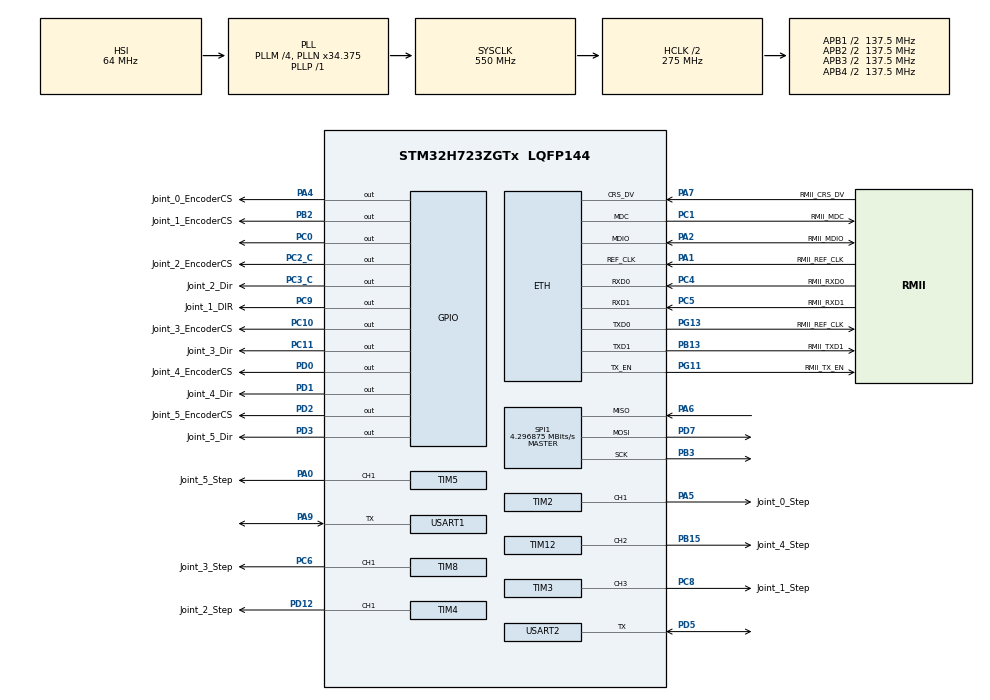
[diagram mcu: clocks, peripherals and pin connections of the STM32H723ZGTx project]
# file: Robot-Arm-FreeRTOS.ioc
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CORTEX_M7.AccessPermission_S-Cortex_Memory_Protection_Unit_Region1_Settings_S=MPU_REGION_FULL_ACCESS
CORTEX_M7.BaseAddress_S-Cortex_Memory_Protection_Unit_Region1_Settings_S=0x30000000
CORTEX_M7.DisableExec_S-Cortex_Memory_Protection_Unit_Region1_Settings_S=MPU_INSTRUCTION_ACCESS_DISABLE
CORTEX_M7.Enable_S-Cortex_Memory_Protection_Unit_Region1_Settings_S=MPU_REGION_ENABLE
CORTEX_M7.IsShareable_S-Cortex_Memory_Protection_Unit_Region1_Settings_S=MPU_ACCESS_SHAREABLE
CORTEX_M7.Size_S-Cortex_Memory_Protection_Unit_Region1_Settings_S=MPU_REGION_SIZE_512KB
CORTEX_M7.TypeExtField_S-Cortex_Memory_Protection_Unit_Region1_Settings_S=MPU_TEX_LEVEL1
CORTEX_M7.default_mode_Activation=1
ETH.MediaInterface=HAL_ETH_RMII_MODE
FREERTOS.Tasks01=defaultTask,24,1024,StartDefaultTask,Default,NULL,Dynamic,NULL,NULL;ControlLoop,48,1024,StartControlLoopTask,Default,NULL,Static,ControlLoopBuffer,ControlLoopControlBlock;SafetyMonitor,40,256,StartSafetyTask,Default,NULL,Static,SafetyMonitorBuffer,SafetyMonitorControlBlock;MotionPlanner,32,1024,StartMotionPlannerTask,Default,NULL,Static,MotionPlannerBuffer,MotionPlannerControlBlock;ROS2,24,3000,StartRosTask,Default,NULL,Static,ROS2Buffer,ROS2ControlBlock;Diagnostics,8,512,StartDiagTask,Default,NULL,Static,DiagnosticsBuffer,DiagnosticsControlBlock;Homing,32,512,StartHomingTask,Default,NULL,Static,HomingBuffer,HomingControlBlock
FREERTOS.configCHECK_FOR_STACK_OVERFLOW=2
FREERTOS.configMINIMAL_STACK_SIZE=512
FREERTOS.configTOTAL_HEAP_SIZE=30*1024
FREERTOS.configUSE_MALLOC_FAILED_HOOK=1
FREERTOS.configUSE_NEWLIB_REENTRANT=0
LWIP.BSP.number=1
LWIP.DEFAULT_THREAD_STACKSIZE=2048
LWIP.IP_ADDRESS=192.168.050.010
LWIP.LWIP_DHCP=0
LWIP.LWIP_RAM_HEAP_POINTER=0x30000200
LWIP.LWIP_SOCKET=1
LWIP.LWIP_SO_RCVTIMEO=0
LWIP.LWIP_SO_SNDTIMEO=0
LWIP.MEMP_NUM_SYS_TIMEOUT=3
LWIP.MEMP_NUM_UDP_PCB=4
LWIP.MEM_SIZE=32232
LWIP.NETMASK_ADDRESS=255.255.255.000
LWIP.TCPIP_THREAD_PRIO=3
LWIP.TCPIP_THREAD_STACKSIZE=2048
LWIP.TCP_MSS=1460
LWIP.TCP_SND_BUF=5840
LWIP.TCP_SND_QUEUELEN=16
LWIP.TCP_WND=5840
LWIP.Version=v2.2.1_Cube
LWIP0.BSP.STBoard=false
LWIP0.BSP.api=BSP_COMPONENT_DRIVER
LWIP0.BSP.component=LAN8742
LWIP0.BSP.instance=LAN8742
LWIP0.BSP.name=Driver_PHY
LWIP0.BSP.semaphore=S_LAN8742
LWIP0.BSP.solution=LAN8742
Mcu.Family=STM32H7
Mcu.Name=STM32H723ZGTx
Mcu.Package=LQFP144
NUCLEO-H723ZG.BUTTON=1
NUCLEO-H723ZG.LD1=true
NUCLEO-H723ZG.LD2=true
NUCLEO-H723ZG.LD3=true
NUCLEO-H723ZG.VCP=true
NVIC.ETH_IRQn=true\:5\:0\:false\:false\:true\:true\:true\:true\:true
NVIC.EXTI15_10_IRQn=true\:5\:0\:false\:false\:true\:true\:false\:true\:true
NVIC.PriorityGroup=NVIC_PRIORITYGROUP_4
NVIC.TIM1_UP_IRQn=true\:15\:0\:false\:false\:true\:false\:false\:true\:true
NVIC.TimeBase=TIM1_UP_IRQn
NVIC.TimeBaseIP=TIM1
PA0.GPIO_Label=Joint_5_Step
PA0.Signal=S_TIM5_CH1
PA1.GPIO_Label=RMII_REF_CLK
PA1.GPIO_Speed_Default_HIGH=GPIO_SPEED_FREQ_VERY_HIGH
PA1.Mode=RMII
PA1.Signal=ETH_REF_CLK
PA13(JTMS/SWDIO).Mode=Serial_Wire
PA13(JTMS/SWDIO).Signal=DEBUG_JTMS-SWDIO
PA14(JTCK/SWCLK).Mode=Serial_Wire
PA14(JTCK/SWCLK).Signal=DEBUG_JTCK-SWCLK
PA2.GPIO_Label=RMII_MDIO
PA2.GPIO_Speed_Default_HIGH=GPIO_SPEED_FREQ_VERY_HIGH
PA2.Mode=RMII
PA2.Signal=ETH_MDIO
PA4.GPIO_Label=Joint_0_EncoderCS
PA4.GPIO_Speed=GPIO_SPEED_FREQ_VERY_HIGH
PA4.PinState=GPIO_PIN_SET
PA4.Signal=GPIO_Output
PA5.GPIO_Label=Joint_0_Step
PA5.Signal=S_TIM2_CH1_ETR
PA6.GPIO_Speed=GPIO_SPEED_FREQ_VERY_HIGH
PA6.Mode=Full_Duplex_Master
PA6.Signal=SPI1_MISO
PA7.GPIO_Label=RMII_CRS_DV
PA7.GPIO_Speed_Default_HIGH=GPIO_SPEED_FREQ_VERY_HIGH
PA7.Mode=RMII
PA7.Signal=ETH_CRS_DV
PA9.GPIO_PuPd=GPIO_PULLUP
PA9.Mode=Half_duplex(single_wire_mode)
PA9.Signal=USART1_TX
PB13.GPIO_Label=RMII_TXD1
PB13.GPIO_Speed_Default_HIGH=GPIO_SPEED_FREQ_VERY_HIGH
PB13.Mode=RMII
PB13.Signal=ETH_TXD1
PB15.GPIO_Label=Joint_4_Step
PB15.Signal=S_TIM12_CH2
PB2.GPIO_Label=Joint_1_EncoderCS
PB2.GPIO_Speed=GPIO_SPEED_FREQ_VERY_HIGH
PB2.PinState=GPIO_PIN_SET
PB2.Signal=GPIO_Output
PB3(JTDO/TRACESWO).GPIO_Speed=GPIO_SPEED_FREQ_VERY_HIGH
PB3(JTDO/TRACESWO).Mode=Full_Duplex_Master
PB3(JTDO/TRACESWO).Signal=SPI1_SCK
PC0.Signal=GPIO_Output
PC1.GPIO_Label=RMII_MDC
PC1.GPIO_Speed_Default_HIGH=GPIO_SPEED_FREQ_VERY_HIGH
PC1.Mode=RMII
PC1.Signal=ETH_MDC
PC10.GPIO_Label=Joint_3_EncoderCS
PC10.PinState=GPIO_PIN_SET
PC10.Signal=GPIO_Output
PC11.GPIO_Label=Joint_3_Dir
PC11.Signal=GPIO_Output
PC2_C.GPIO_Label=Joint_2_EncoderCS
PC2_C.PinState=GPIO_PIN_SET
PC2_C.Signal=GPIO_Output
PC3_C.GPIO_Label=Joint_2_Dir
PC3_C.Signal=GPIO_Output
PC4.GPIO_Label=RMII_RXD0
PC4.GPIO_Speed_Default_HIGH=GPIO_SPEED_FREQ_VERY_HIGH
PC4.Mode=RMII
PC4.Signal=ETH_RXD0
PC5.GPIO_Label=RMII_RXD1
PC5.GPIO_Speed_Default_HIGH=GPIO_SPEED_FREQ_VERY_HIGH
PC5.Mode=RMII
PC5.Signal=ETH_RXD1
PC6.GPIO_Label=Joint_3_Step
PC6.Signal=S_TIM8_CH1
PC8.GPIO_Label=Joint_1_Step
PC8.Signal=S_TIM3_CH3
PC9.GPIO_Label=Joint_1_DIR
PC9.Signal=GPIO_Output
PD0.GPIO_Label=Joint_4_EncoderCS
PD0.PinState=GPIO_PIN_SET
PD0.Signal=GPIO_Output
PD1.GPIO_Label=Joint_4_Dir
PD1.Signal=GPIO_Output
PD12.GPIO_Label=Joint_2_Step
PD12.Signal=S_TIM4_CH1
PD2.GPIO_Label=Joint_5_EncoderCS
PD2.PinState=GPIO_PIN_SET
PD2.Signal=GPIO_Output
PD3.GPIO_Label=Joint_5_Dir
PD3.Signal=GPIO_Output
PD5.GPIO_PuPd=GPIO_PULLUP
PD5.Mode=Half_duplex(single_wire_mode)
PD5.Signal=USART2_TX
PD7.GPIO_Speed=GPIO_SPEED_FREQ_VERY_HIGH
PD7.Mode=Full_Duplex_Master
PD7.Signal=SPI1_MOSI
PD8.Signal=USART3_TX
PD9.Signal=USART3_RX
PG11.GPIO_Label=RMII_TX_EN
PG11.GPIO_Speed_Default_HIGH=GPIO_SPEED_FREQ_VERY_HIGH
PG11.Mode=RMII
PG11.Signal=ETH_TX_EN
PG13.GPIO_Label=RMII_REF_CLK
PG13.GPIO_Speed_Default_HIGH=GPIO_SPEED_FREQ_VERY_HIGH
PG13.Mode=RMII
PG13.Signal=ETH_TXD0
ProjectManager.HeapSize=0x200
ProjectManager.StackSize=0x400
ProjectManager.TargetToolchain=Makefile
RCC.ADCFreq_Value=608000000
RCC.APB1Freq_Value=137500000
RCC.APB2Freq_Value=137500000
RCC.APB3Freq_Value=137500000
RCC.APB4Freq_Value=137500000
RCC.CortexFreq_Value=550000000
RCC.D1PPRE=RCC_APB3_DIV2
RCC.D2PPRE1=RCC_APB1_DIV2
RCC.D2PPRE2=RCC_APB2_DIV2
RCC.D3PPRE=RCC_APB4_DIV2
RCC.DIVM1=4
RCC.DIVM2=1
RCC.DIVN1=34
RCC.DIVN2=19
RCC.DIVP1=1
RCC.DIVQ1=4
RCC.HCLKFreq_Value=275000000
RCC.HPRE=RCC_HCLK_DIV2
RCC.HSE_VALUE=8000000
RCC.PLLFRACN=3072
RCC.SYSCLKFreq_VALUE=550000000
RCC.SYSCLKSource=RCC_SYSCLKSOURCE_PLLCLK
RCC.USBCLockSelection=RCC_USBCLKSOURCE_HSI48
RCC.USBFreq_Value=48000000
SH.S_TIM12_CH2.0=TIM12_CH2,PWM Generation2 CH2
SH.S_TIM2_CH1_ETR.0=TIM2_CH1,PWM Generation1 CH1
SH.S_TIM3_CH3.0=TIM3_CH3,PWM Generation3 CH3
SH.S_TIM4_CH1.0=TIM4_CH1,PWM Generation1 CH1
SH.S_TIM5_CH1.0=TIM5_CH1,PWM Generation1 CH1
SH.S_TIM8_CH1.0=TIM8_CH1,PWM Generation1 CH1
SPI1.BaudRatePrescaler=SPI_BAUDRATEPRESCALER_32
SPI1.CLKPhase=SPI_PHASE_2EDGE
SPI1.CalculateBaudRate=4.296875 MBits/s
SPI1.DataSize=SPI_DATASIZE_16BIT
SPI1.Direction=SPI_DIRECTION_2LINES
SPI1.Mode=SPI_MODE_MASTER
SPI1.NSSPMode=SPI_NSS_PULSE_DISABLE
SPI1.VirtualType=VM_MASTER
TIM12.AutoReloadPreload=TIM_AUTORELOAD_PRELOAD_ENABLE
TIM12.Channel-PWM\ Generation2\ CH2=TIM_CHANNEL_2
TIM12.Period=77
TIM12.Prescaler=274
TIM2.AutoReloadPreload=TIM_AUTORELOAD_PRELOAD_ENABLE
TIM2.Channel-PWM\ Generation1\ CH1=TIM_CHANNEL_1
TIM2.Period=25
TIM2.Prescaler=274
TIM3.AutoReloadPreload=TIM_AUTORELOAD_PRELOAD_ENABLE
TIM3.Channel-PWM\ Generation3\ CH3=TIM_CHANNEL_3
TIM3.Period=77
TIM3.Prescaler=274
TIM4.AutoReloadPreload=TIM_AUTORELOAD_PRELOAD_ENABLE
TIM4.Channel-PWM\ Generation1\ CH1=TIM_CHANNEL_1
TIM4.Period=77
TIM4.Prescaler=274
TIM5.Channel-PWM\ Generation1\ CH1=TIM_CHANNEL_1
TIM5.Period=77
TIM5.Prescaler=274
TIM8.AutoReloadPreload=TIM_AUTORELOAD_PRELOAD_ENABLE
TIM8.Channel-PWM\ Generation1\ CH1=TIM_CHANNEL_1
TIM8.Period=77
TIM8.Prescaler=274
USART1.VirtualMode-Half_duplex(single_wire_mode)=VM_ASYNC
USART2.VirtualMode-Half_duplex(single_wire_mode)=VM_ASYNC
VP_FREERTOS_VS_CMSIS_V2.Mode=CMSIS_V2
VP_LWIP_VS_Enabled.Mode=Enabled
VP_MEMORYMAP_VS_MEMORYMAP.Mode=CurAppReg
VP_NUCLEO-H723ZG_VS_BSP_COMMON.Mode=COMMON
VP_SYS_VS_tim1.Mode=TIM1
VP_TIM12_VS_ClockSourceINT.Mode=Internal
VP_TIM2_VS_ClockSourceINT.Mode=Internal
VP_TIM3_VS_ClockSourceINT.Mode=Internal
VP_TIM4_VS_ClockSourceINT.Mode=Internal
VP_TIM5_VS_ClockSourceINT.Mode=Internal
VP_TIM8_VS_ClockSourceINT.Mode=Internal
board=NUCLEO-H723ZG

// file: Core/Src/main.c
/* USER CODE BEGIN Header */
/**
  ******************************************************************************
  * @file           : main.c
  * @brief          : Main program body
  ******************************************************************************
  * @attention
  *
  * Copyright (c) 2026 STMicroelectronics.
  * All rights reserved.
  *
  * This software is licensed under terms that can be found in the LICENSE file
  * in the root directory of this software component.
  * If no LICENSE file comes with this software, it is provided AS-IS.
  *
  ******************************************************************************
  */
/* USER CODE END Header */
#include "main.h"
#include "FreeRTOS.h"
#include "cmsis_os2.h"
#include "lwip.h"
#include "spi.h"
#include "tim.h"
#include "usart.h"
#include "gpio.h"

/* USER CODE BEGIN Includes */
#include "tmc2209_frame.h"
#include "tmc2209_uart.h"
#include "tmc2209_cfg.h"
#include "robot_arm.h"
/* USER CODE END Includes */

COM_InitTypeDef BspCOMInit;

void SystemClock_Config(void);
static void MPU_Config(void);
void MX_FREERTOS_Init(void);
/* USER CODE BEGIN PFP */
bool cubemx_transport_open(struct uxrCustomTransport * transport);
bool cubemx_transport_close(struct uxrCustomTransport * transport);
size_t cubemx_transport_write(struct uxrCustomTransport* transport, const uint8_t * buf, size_t len, uint8_t * err);
size_t cubemx_transport_read(struct uxrCustomTransport* transport, uint8_t* buf, size_t len, int timeout, uint8_t* err);

void * microros_allocate(size_t size, void * state);
void microros_deallocate(void * pointer, void * state);
void * microros_reallocate(void * pointer, size_t size, void * state);
void * microros_zero_allocate(size_t number_of_elements, size_t size_of_element, void * state);
/* USER CODE END PFP */

int main(void)
{

  /* USER CODE BEGIN 1 */
  extern uint64_t _slwip, _elwip;
  for (volatile uint64_t *p = &_slwip; p < &_elwip; ++p) *p = 0;

  /* USER CODE END 1 */

  /* MPU Configuration--------------------------------------------------------*/
  MPU_Config();

  /* MCU Configuration--------------------------------------------------------*/

  /* Reset of all peripherals, Initializes the Flash interface and the Systick. */
  HAL_Init();

  /* Configure the system clock */
  SystemClock_Config();

  /* Initialize all configured peripherals */
  MX_GPIO_Init();
  MX_TIM2_Init();
  MX_TIM3_Init();
  MX_USART1_UART_Init();
  MX_TIM4_Init();
  MX_TIM5_Init();
  MX_TIM8_Init();
  MX_TIM12_Init();
  MX_USART2_UART_Init();
  MX_SPI1_Init();
  /* USER CODE BEGIN 2 */
  __HAL_RCC_GPIOA_CLK_ENABLE();
  GPIO_InitTypeDef cs = {0};
  cs.Pin = GPIO_PIN_4; cs.Mode = GPIO_MODE_OUTPUT_PP; cs.Pull = GPIO_NOPULL; cs.Speed = GPIO_SPEED_FREQ_LOW;
  HAL_GPIO_WritePin(GPIOA, GPIO_PIN_4, GPIO_PIN_SET);
  HAL_GPIO_Init(GPIOA, &cs);
  /* USER CODE END 2 */

  /* Init scheduler */
  osKernelInitialize();  /* Call init function for freertos objects (in cmsis_os2.c) */
  MX_FREERTOS_Init();

  /* Initialize leds */
  BSP_LED_Init(LED_GREEN);
  BSP_LED_Init(LED_YELLOW);
  BSP_LED_Init(LED_RED);

  /* Initialize USER push-button, will be used to trigger an interrupt each time it's pressed.*/
  BSP_PB_Init(BUTTON_USER, BUTTON_MODE_EXTI);

  /* Initialize COM1 port (115200, 8 bits (7-bit data + 1 stop bit), no parity */
  BspCOMInit.BaudRate   = 115200;
  BspCOMInit.WordLength = COM_WORDLENGTH_8B;
  BspCOMInit.StopBits   = COM_STOPBITS_1;
  BspCOMInit.Parity     = COM_PARITY_NONE;
  BspCOMInit.HwFlowCtl  = COM_HWCONTROL_NONE;
  if (BSP_COM_Init(COM1, &BspCOMInit) != BSP_ERROR_NONE)
  {
    Error_Handler();
  }

  /* Start scheduler */
  osKernelStart();

  /* We should never get here as control is now taken by the scheduler */

  /* Infinite loop */
  while (1)
  {

  }
}

void SystemClock_Config(void)
{
  RCC_OscInitTypeDef RCC_OscInitStruct = {0};
  RCC_ClkInitTypeDef RCC_ClkInitStruct = {0};

  /** Supply configuration update enable
  */
  HAL_PWREx_ConfigSupply(PWR_LDO_SUPPLY);

  /** Configure the main internal regulator output voltage
  */
  __HAL_PWR_VOLTAGESCALING_CONFIG(PWR_REGULATOR_VOLTAGE_SCALE0);

  while(!__HAL_PWR_GET_FLAG(PWR_FLAG_VOSRDY)) {}

  /** Initializes the RCC Oscillators according to the specified parameters
  * in the RCC_OscInitTypeDef structure.
  */
  RCC_OscInitStruct.OscillatorType = RCC_OSCILLATORTYPE_HSI;
  RCC_OscInitStruct.HSIState = RCC_HSI_DIV1;
  RCC_OscInitStruct.HSICalibrationValue = 64;
  RCC_OscInitStruct.PLL.PLLState = RCC_PLL_ON;
  RCC_OscInitStruct.PLL.PLLSource = RCC_PLLSOURCE_HSI;
  RCC_OscInitStruct.PLL.PLLM = 4;
  RCC_OscInitStruct.PLL.PLLN = 34;
  RCC_OscInitStruct.PLL.PLLP = 1;
  RCC_OscInitStruct.PLL.PLLQ = 4;
  RCC_OscInitStruct.PLL.PLLR = 2;
  RCC_OscInitStruct.PLL.PLLRGE = RCC_PLL1VCIRANGE_3;
  RCC_OscInitStruct.PLL.PLLVCOSEL = RCC_PLL1VCOWIDE;
  RCC_OscInitStruct.PLL.PLLFRACN = 3072;
  if (HAL_RCC_OscConfig(&RCC_OscInitStruct) != HAL_OK)
  {
    Error_Handler();
  }

  /** Initializes the CPU, AHB and APB buses clocks
  */
  RCC_ClkInitStruct.ClockType = RCC_CLOCKTYPE_HCLK|RCC_CLOCKTYPE_SYSCLK
                              |RCC_CLOCKTYPE_PCLK1|RCC_CLOCKTYPE_PCLK2
                              |RCC_CLOCKTYPE_D3PCLK1|RCC_CLOCKTYPE_D1PCLK1;
  RCC_ClkInitStruct.SYSCLKSource = RCC_SYSCLKSOURCE_PLLCLK;
  RCC_ClkInitStruct.SYSCLKDivider = RCC_SYSCLK_DIV1;
  RCC_ClkInitStruct.AHBCLKDivider = RCC_HCLK_DIV2;
  RCC_ClkInitStruct.APB3CLKDivider = RCC_APB3_DIV2;
  RCC_ClkInitStruct.APB1CLKDivider = RCC_APB1_DIV2;
  RCC_ClkInitStruct.APB2CLKDivider = RCC_APB2_DIV2;
  RCC_ClkInitStruct.APB4CLKDivider = RCC_APB4_DIV2;

  if (HAL_RCC_ClockConfig(&RCC_ClkInitStruct, FLASH_LATENCY_3) != HAL_OK)
  {
    Error_Handler();
  }
}

 /* MPU Configuration */

void MPU_Config(void)
{
  MPU_Region_InitTypeDef MPU_InitStruct = {0};

  /* Disables the MPU */
  HAL_MPU_Disable();

  /** Initializes and configures the Region and the memory to be protected
  */
  MPU_InitStruct.Enable = MPU_REGION_ENABLE;
  MPU_InitStruct.Number = MPU_REGION_NUMBER0;
  MPU_InitStruct.BaseAddress = 0x0;
  MPU_InitStruct.Size = MPU_REGION_SIZE_4GB;
  MPU_InitStruct.SubRegionDisable = 0x87;
  MPU_InitStruct.TypeExtField = MPU_TEX_LEVEL0;
  MPU_InitStruct.AccessPermission = MPU_REGION_NO_ACCESS;
  MPU_InitStruct.DisableExec = MPU_INSTRUCTION_ACCESS_DISABLE;
  MPU_InitStruct.IsShareable = MPU_ACCESS_SHAREABLE;
  MPU_InitStruct.IsCacheable = MPU_ACCESS_NOT_CACHEABLE;
  MPU_InitStruct.IsBufferable = MPU_ACCESS_NOT_BUFFERABLE;

  HAL_MPU_ConfigRegion(&MPU_InitStruct);

  /** Initializes and configures the Region and the memory to be protected
  */
  MPU_InitStruct.Number = MPU_REGION_NUMBER1;
  MPU_InitStruct.BaseAddress = 0x30000000;
  MPU_InitStruct.Size = MPU_REGION_SIZE_512KB;
  MPU_InitStruct.SubRegionDisable = 0x0;
  MPU_InitStruct.TypeExtField = MPU_TEX_LEVEL1;
  MPU_InitStruct.AccessPermission = MPU_REGION_FULL_ACCESS;

  HAL_MPU_ConfigRegion(&MPU_InitStruct);
  /* Enables the MPU */
  HAL_MPU_Enable(MPU_PRIVILEGED_DEFAULT);

}

void HAL_TIM_PeriodElapsedCallback(TIM_HandleTypeDef *htim)
{
  if (htim->Instance == TIM1)
  {
    HAL_IncTick();
  }
}

void Error_Handler(void)
{
  __disable_irq();
  while (1)
  {
  }
}

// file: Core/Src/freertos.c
/* USER CODE BEGIN Header */
/**
  ******************************************************************************
  * File Name          : freertos.c
  * Description        : Code for freertos applications
  ******************************************************************************
  * @attention
  *
  * Copyright (c) 2026 STMicroelectronics.
  * All rights reserved.
  *
  * This software is licensed under terms that can be found in the LICENSE file
  * in the root directory of this software component.
  * If no LICENSE file comes with this software, it is provided AS-IS.
  *
  ******************************************************************************
  */
/* USER CODE END Header */

#include "FreeRTOS.h"
#include "task.h"
#include "main.h"
#include "FreeRTOS.h"
#include "cmsis_os2.h"

/* USER CODE BEGIN Includes */
#include "spi.h"
#include "robot_arm.h"
#include "ros_interface.h"
#include <rmw_microros/rmw_microros.h>
#include <uxr/client/transport.h>
#include <rcutils/allocator.h>
/* USER CODE END Includes */

typedef StaticTask_t osStaticThreadDef_t;

/* USER CODE BEGIN Variables */
   RobotArm_t g_arm;
   RosInterface_t g_ros;
   volatile bool     g_net_ready = false;
   volatile uint32_t g_heap_free = 0;
   volatile uint32_t j0_ready = 0;
   volatile uint32_t j0_tmc   = 0;
/* Joint 0 encoder snapshot, copied by the Diagnostics task from the values the
 * ControlLoop task caches. Read with STM32_Programmer_CLI -r32 (addresses from
 * arm-none-eabi-nm build/*.elf | grep g_enc_). Nothing here touches SPI1. */
volatile float    g_enc_deg      = 0.0f;  /* last good angle, 0..360 (raw, before sign/offset) */
volatile float    g_j0_pos_deg   = 0.0f;  /* joint 0 position (sign/offset, unwrapped) */
volatile uint32_t g_enc_ok       = 0;     /* successful register reads */
volatile uint32_t g_enc_err      = 0;     /* failed register reads */
volatile uint32_t g_enc_diaagc   = 0;     /* last DIAAGC: bit8 LF, bit10 MAGH, bit11 MAGL, 7:0 AGC */
volatile int32_t  g_enc_last_err = 0;     /* last driver error code (3 parity, 11 no device ...) */
volatile uint32_t j0_enc_ok      = 0;     /* 1 = encoder initialized and reading */
volatile uint32_t j0_fault       = 0;     /* 1 = joint 0 latched a fault */
   volatile uint32_t g_fault_code = 0;   /* 1 = stack overflow, 2 = malloc failed */
/* USER CODE END Variables */
/* Definitions for defaultTask */
osThreadId_t defaultTaskHandle;
const osThreadAttr_t defaultTask_attributes = {
  .name = "defaultTask",
  .stack_size = 1024 * 4,
  .priority = (osPriority_t) osPriorityNormal,
};
/* Definitions for ControlLoop */
osThreadId_t ControlLoopHandle;
uint32_t ControlLoopBuffer[ 1024 ];
osStaticThreadDef_t ControlLoopControlBlock;
const osThreadAttr_t ControlLoop_attributes = {
  .name = "ControlLoop",
  .cb_mem = &ControlLoopControlBlock,
  .cb_size = sizeof(ControlLoopControlBlock),
  .stack_mem = &ControlLoopBuffer[0],
  .stack_size = sizeof(ControlLoopBuffer),
  .priority = (osPriority_t) osPriorityRealtime,
};
/* Definitions for SafetyMonitor */
osThreadId_t SafetyMonitorHandle;
uint32_t SafetyMonitorBuffer[ 256 ];
osStaticThreadDef_t SafetyMonitorControlBlock;
const osThreadAttr_t SafetyMonitor_attributes = {
  .name = "SafetyMonitor",
  .cb_mem = &SafetyMonitorControlBlock,
  .cb_size = sizeof(SafetyMonitorControlBlock),
  .stack_mem = &SafetyMonitorBuffer[0],
  .stack_size = sizeof(SafetyMonitorBuffer),
  .priority = (osPriority_t) osPriorityHigh,
};
/* Definitions for MotionPlanner */
osThreadId_t MotionPlannerHandle;
uint32_t MotionPlannerBuffer[ 1024 ];
osStaticThreadDef_t MotionPlannerControlBlock;
const osThreadAttr_t MotionPlanner_attributes = {
  .name = "MotionPlanner",
  .cb_mem = &MotionPlannerControlBlock,
  .cb_size = sizeof(MotionPlannerControlBlock),
  .stack_mem = &MotionPlannerBuffer[0],
  .stack_size = sizeof(MotionPlannerBuffer),
  .priority = (osPriority_t) osPriorityAboveNormal,
};
/* Definitions for ROS2 */
osThreadId_t ROS2Handle;
uint32_t ROS2Buffer[ 3000 ];
osStaticThreadDef_t ROS2ControlBlock;
const osThreadAttr_t ROS2_attributes = {
  .name = "ROS2",
  .cb_mem = &ROS2ControlBlock,
  .cb_size = sizeof(ROS2ControlBlock),
  .stack_mem = &ROS2Buffer[0],
  .stack_size = sizeof(ROS2Buffer),
  .priority = (osPriority_t) osPriorityNormal,
};
/* Definitions for Diagnostics */
osThreadId_t DiagnosticsHandle;
uint32_t DiagnosticsBuffer[ 512 ];
osStaticThreadDef_t DiagnosticsControlBlock;
const osThreadAttr_t Diagnostics_attributes = {
  .name = "Diagnostics",
  .cb_mem = &DiagnosticsControlBlock,
  .cb_size = sizeof(DiagnosticsControlBlock),
  .stack_mem = &DiagnosticsBuffer[0],
  .stack_size = sizeof(DiagnosticsBuffer),
  .priority = (osPriority_t) osPriorityLow,
};
/* Definitions for Homing */
osThreadId_t HomingHandle;
uint32_t HomingBuffer[ 512 ];
osStaticThreadDef_t HomingControlBlock;
const osThreadAttr_t Homing_attributes = {
  .name = "Homing",
  .cb_mem = &HomingControlBlock,
  .cb_size = sizeof(HomingControlBlock),
  .stack_mem = &HomingBuffer[0],
  .stack_size = sizeof(HomingBuffer),
  .priority = (osPriority_t) osPriorityAboveNormal,
};

/* USER CODE BEGIN FunctionPrototypes */
bool   cubemx_transport_open(struct uxrCustomTransport *t);
bool   cubemx_transport_close(struct uxrCustomTransport *t);
size_t cubemx_transport_write(struct uxrCustomTransport *t, const uint8_t *buf, size_t len, uint8_t *err);
size_t cubemx_transport_read(struct uxrCustomTransport *t, uint8_t *buf, size_t len, int timeout, uint8_t *err);
void  *microros_allocate(size_t size, void *state);
void   microros_deallocate(void *ptr, void *state);
void  *microros_reallocate(void *ptr, size_t size, void *state);
void  *microros_zero_allocate(size_t n, size_t size, void *state);
/* USER CODE END FunctionPrototypes */

void StartDefaultTask(void *argument);
void StartControlLoopTask(void *argument);
void StartSafetyTask(void *argument);
void StartMotionPlannerTask(void *argument);
void StartRosTask(void *argument);
void StartDiagTask(void *argument);
void StartHomingTask(void *argument);

extern void MX_LWIP_Init(void);
void MX_FREERTOS_Init(void); /* (MISRA C 2004 rule 8.1) */

/* Hook prototypes */
void vApplicationStackOverflowHook(xTaskHandle xTask, char *pcTaskName);
void vApplicationMallocFailedHook(void);

/* USER CODE BEGIN 4 */
void vApplicationStackOverflowHook(xTaskHandle xTask, char *pcTaskName)
{

    (void)xTask; (void)pcTaskName;
    g_fault_code = 1;
    __disable_irq();
    for(;;) {}

   /* Run time stack overflow checking is performed if
   configCHECK_FOR_STACK_OVERFLOW is defined to 1 or 2. This hook function is
   called if a stack overflow is detected. */
}
/* USER CODE END 4 */

/* USER CODE BEGIN 5 */
void vApplicationMallocFailedHook(void)
{

    g_fault_code = 2;
    __disable_irq();
    for(;;) {}

   /* vApplicationMallocFailedHook() will only be called if
   configUSE_MALLOC_FAILED_HOOK is set to 1 in FreeRTOSConfig.h. It is a hook
   function that will get called if a call to pvPortMalloc() fails.
   pvPortMalloc() is called internally by the kernel whenever a task, queue,
   timer or semaphore is created. It is also called by various parts of the
   demo application. If heap_1.c or heap_2.c are used, then the size of the
   heap available to pvPortMalloc() is defined by configTOTAL_HEAP_SIZE in
   FreeRTOSConfig.h, and the xPortGetFreeHeapSize() API function can be used
   to query the size of free heap space that remains (although it does not
   provide information on how the remaining heap might be fragmented). */
}
/* USER CODE END 5 */

void MX_FREERTOS_Init(void) {

  /* Create the thread(s) */
  /* creation of defaultTask */
  defaultTaskHandle = osThreadNew(StartDefaultTask, NULL, &defaultTask_attributes);

  /* creation of ControlLoop */
  ControlLoopHandle = osThreadNew(StartControlLoopTask, NULL, &ControlLoop_attributes);

  /* creation of SafetyMonitor */
  SafetyMonitorHandle = osThreadNew(StartSafetyTask, NULL, &SafetyMonitor_attributes);

  /* creation of MotionPlanner */
  MotionPlannerHandle = osThreadNew(StartMotionPlannerTask, NULL, &MotionPlanner_attributes);

  /* creation of ROS2 */
  ROS2Handle = osThreadNew(StartRosTask, NULL, &ROS2_attributes);

  /* creation of Diagnostics */
  DiagnosticsHandle = osThreadNew(StartDiagTask, NULL, &Diagnostics_attributes);

  /* creation of Homing */
  HomingHandle = osThreadNew(StartHomingTask, NULL, &Homing_attributes);

}

void StartDefaultTask(void *argument)
{
  /* init code for LWIP */
  MX_LWIP_Init();
  /* USER CODE BEGIN StartDefaultTask */
    g_net_ready = true;
  /* Infinite loop */
  for(;;)
  {
    osDelay(1);
  }
  /* USER CODE END StartDefaultTask */
}

void StartControlLoopTask(void *argument)
{
  /* USER CODE BEGIN StartControlLoopTask */
  RobotArm_Init(&g_arm); // TODO: check return value once joints 2-5 are wired

  TickType_t lastWake = osKernelGetTickCount();
  const uint32_t period_ticks = 1; // 1ms -> 1kHz control loop

  for(;;)
  {
    j0_ready = g_arm.joints[0].ready ? 1u : 0u;
    j0_tmc   = (uint32_t)Joint_GetTmcStatus(&g_arm.joints[0]);
    RobotArm_Update(&g_arm, 0.001f);
    lastWake += period_ticks;
    osDelayUntil(lastWake);
  }
  /* USER CODE END StartControlLoopTask */
}

void StartSafetyTask(void *argument)
{
  for(;;)
  {
    osDelay(1);
  }
}

void StartMotionPlannerTask(void *argument)
{
  for(;;)
  {
    osDelay(1);
  }
}

void StartRosTask(void *argument)
{
  /* USER CODE BEGIN StartRosTask */
  while (!g_net_ready) { osDelay(50); }

  rmw_uros_set_custom_transport(false, (void *)"192.168.50.1",
      cubemx_transport_open, cubemx_transport_close,
      cubemx_transport_write, cubemx_transport_read);

  rcutils_allocator_t a = rcutils_get_zero_initialized_allocator();
  a.allocate      = microros_allocate;
  a.deallocate    = microros_deallocate;
  a.reallocate    = microros_reallocate;
  a.zero_allocate = microros_zero_allocate;
  if (!rcutils_set_default_allocator(&a)) { for(;;) osDelay(1000); }

  bool ok = RosInterface_Init(&g_ros, &g_arm);   /* blocks until the agent answers */
  g_heap_free = xPortGetFreeHeapSize();
  if (ok) { RosInterface_Task(NULL); }
  for(;;) { osDelay(1000); }
  /* USER CODE END StartRosTask */
}

void StartDiagTask(void *argument)
{
  /* USER CODE BEGIN StartDiagTask */
  /* Read-only snapshot of joint 0's encoder. The ControlLoop task is the only
   * SPI1 user: it reads the angle every tick and DIAAGC every ~300 ms, and
   * caches the results in g_arm.joints[0].encoder. */
  for(;;)
  {
    const Joint_t *j0 = &g_arm.joints[0];
    g_enc_deg      = j0->encoder.last_deg;
    g_j0_pos_deg   = Joint_GetPositionDeg(j0);
    g_enc_ok       = j0->encoder.ok_count;
    g_enc_err      = j0->encoder.err_count;
    g_enc_diaagc   = j0->encoder.last_diaagc;
    g_enc_last_err = j0->encoder.last_err;
    j0_enc_ok      = Joint_EncoderOk(j0) ? 1u : 0u;
    j0_fault       = Joint_HasFault(j0) ? 1u : 0u;
    osDelay(20);
  }
  /* USER CODE END StartDiagTask */
}

void StartHomingTask(void *argument)
{
  for(;;)
  {
    osDelay(1);
  }
}
